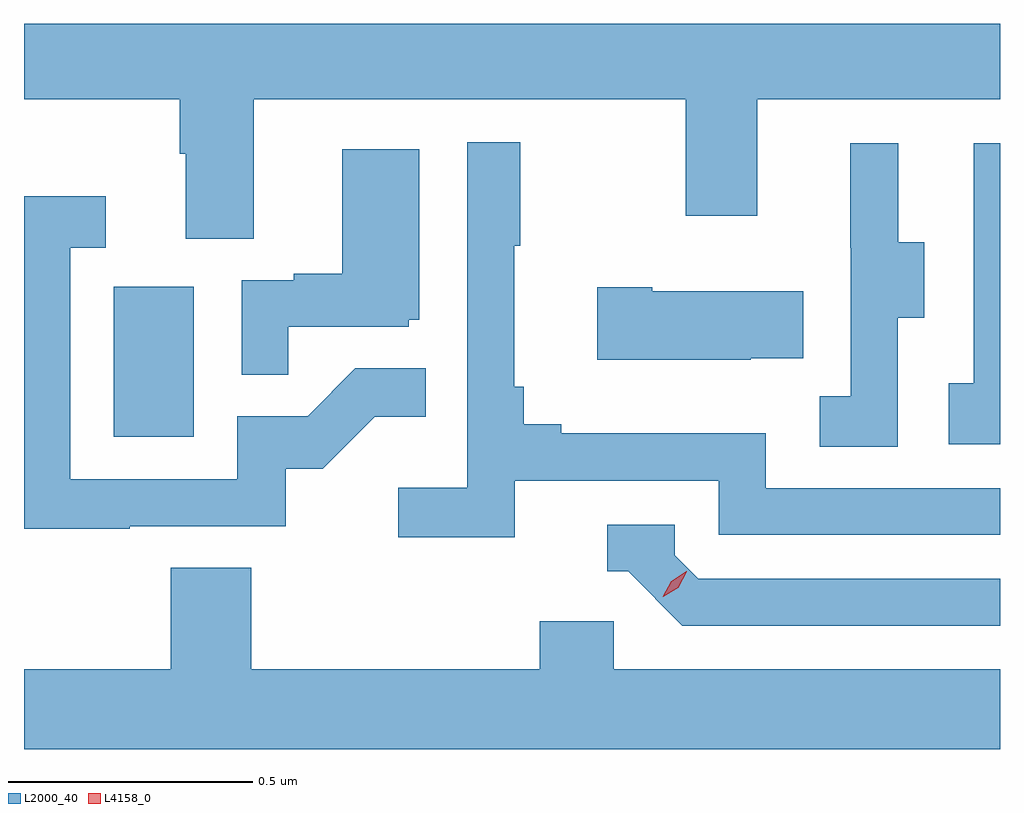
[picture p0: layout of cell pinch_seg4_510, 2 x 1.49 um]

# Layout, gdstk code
import gdstk
lib = gdstk.Library(unit=1e-6, precision=1e-09)
def R(c, l, rs):  # rectangles x0, y0, x1, y1
    for r in rs: c.add(gdstk.rectangle(r[:2], r[2:], *l))
def P(c, l, *ps):  # polygons
    for p in ps: c.add(gdstk.Polygon(p, *l))
L2000_40 = (2000, 40)
L4158_0 = (4158, 0)

pinch_seg4_510 = lib.new_cell('pinch_seg4_510')
R(pinch_seg4_510, L2000_40, [(964.298,768.156,964.462,768.463)])
P(pinch_seg4_510, L2000_40, [(964.585,768.848),(965.47,768.848),(965.47,768.609),(965.617,768.609),(965.617,768.848),(966.114,768.848),(966.114,769.002),(964.114,769.002),(964.114,768.848),(964.433,768.848),(964.433,768.736),(964.445,768.736),(964.445,768.562),(964.585,768.562)],
  [(965.12,768.066),(965.538,768.066),(965.538,767.955),(966.114,767.955),(966.114,768.051),(965.634,768.051),(965.634,768.163),(965.215,768.163),(965.215,768.182),(965.138,768.182),(965.138,768.259),(965.119,768.259),(965.119,768.547),(965.131,768.547),(965.131,768.76),(965.022,768.76),(965.022,768.052),(964.881,768.052),(964.881,767.95),(965.12,767.95)],
  [(965.904,768.4),(965.959,768.4),(965.959,768.555),(965.905,768.555),(965.905,768.757),(965.807,768.757),(965.807,768.543),(965.808,768.543),(965.808,768.239),(965.745,768.239),(965.745,768.136),(965.904,768.136)],
  [(966.114,768.757),(966.06,768.757),(966.06,768.266),(966.009,768.266),(966.009,768.141),(966.114,768.141)],
  [(964.655,768.381),(964.902,768.381),(964.902,768.396),(964.924,768.396),(964.924,768.745),(964.766,768.745),(964.766,768.49),(964.667,768.49),(964.667,768.477),(964.56,768.477),(964.56,768.283),(964.655,768.283)],
  [(964.331,767.973),(964.65,767.973),(964.65,768.09),(964.726,768.09),(964.833,768.197),(964.937,768.197),(964.937,768.296),(964.793,768.296),(964.695,768.198),(964.551,768.198),(964.551,768.069),(964.209,768.069),(964.209,768.543),(964.282,768.543),(964.282,768.649),(964.114,768.649),(964.114,767.968),(964.331,767.968)],
  [(965.603,768.317),(965.711,768.317),(965.711,768.454),(965.401,768.454),(965.401,768.462),(965.289,768.462),(965.289,768.314),(965.603,768.314)],
  [(966.114,767.865),(965.496,767.865),(965.448,767.913),(965.448,767.976),(965.309,767.976),(965.309,767.88),(965.352,767.88),(965.463,767.769),(966.114,767.769)],
  [(966.114,767.68),(965.322,767.68),(965.322,767.778),(965.171,767.778),(965.171,767.68),(964.58,767.68),(964.58,767.888),(964.415,767.888),(964.415,767.68),(964.114,767.68),(964.114,767.516),(966.114,767.516)])
P(pinch_seg4_510, L4158_0, [(965.423,767.828),(965.423,767.828),(965.44,767.86),(965.471,767.88),(965.472,767.88),(965.472,767.879),(965.455,767.847),(965.424,767.828)])

lib.write_gds('pinch_seg4_510.gds')
